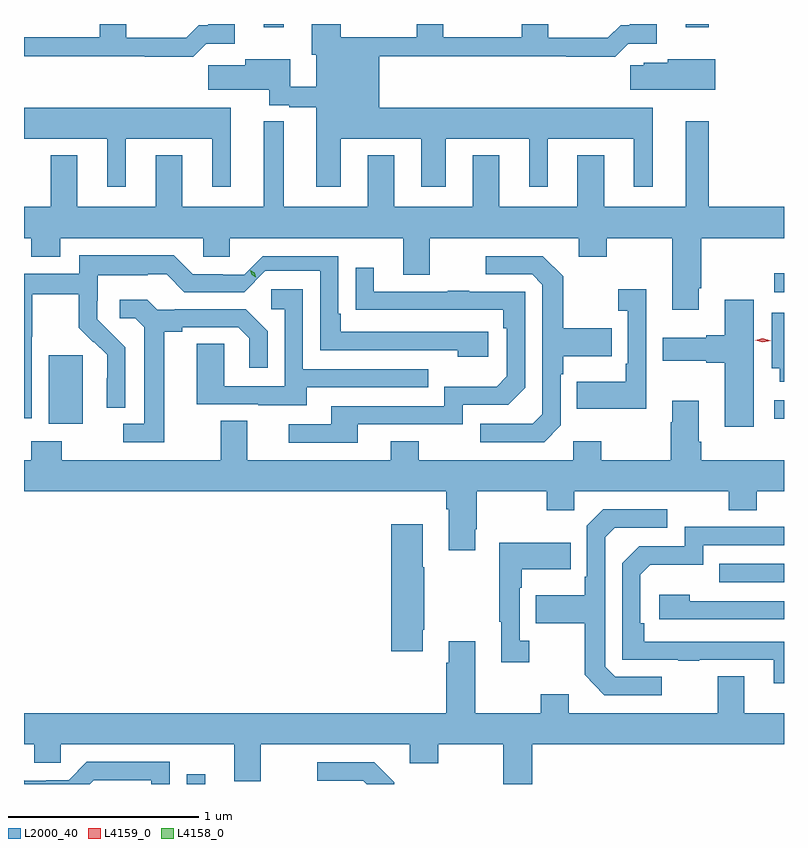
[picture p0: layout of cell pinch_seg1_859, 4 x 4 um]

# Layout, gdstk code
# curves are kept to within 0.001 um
import gdstk
lib = gdstk.Library(unit=1e-6, precision=1e-09)
def R(c, l, rs):  # rectangles x0, y0, x1, y1
    for r in rs: c.add(gdstk.rectangle(r[:2], r[2:], *l))
def P(c, l, *ps):  # polygons
    for p in ps: c.add(gdstk.Polygon(p, *l))
L2000_40 = (2000, 40)
L4158_0 = (4158, 0)
L4159_0 = (4159, 0)

pinch_seg1_859 = lib.new_cell('pinch_seg1_859')
R(pinch_seg1_859, L2000_40, [(614.047,524.883,614.143,524.935), (616.849,525.945,617.19,526.041), (613.319,526.778,613.498,527.139), (617.139,526.806,617.19,526.902), (617.139,527.472,617.19,527.57), (614.453,528.867,614.557,528.883), (616.673,528.867,616.795,528.883)])
P(pinch_seg1_859, L2000_40, [(614.15,528.779),(614.299,528.779),(614.299,528.883),(614.159,528.883),(614.159,528.877),(614.11,528.877),(614.043,528.81),(613.729,528.81),(613.729,528.883),(613.589,528.883),(613.589,528.813),(613.19,528.813),(613.19,528.712),(613.825,528.712),(613.825,528.71),(614.081,528.71)],
  [(614.857,528.278),(615.281,528.278),(615.281,528.027),(615.409,528.027),(615.409,528.278),(615.848,528.278),(615.848,528.027),(615.946,528.027),(615.946,528.278),(616.4,528.278),(616.4,528.027),(616.498,528.027),(616.498,528.442),(615.061,528.442),(615.061,528.712),(616.045,528.712),(616.045,528.71),(616.301,528.71),(616.371,528.78),(616.519,528.78),(616.519,528.883),(616.379,528.883),(616.379,528.877),(616.33,528.877),(616.263,528.81),(615.949,528.81),(615.949,528.883),(615.809,528.883),(615.809,528.813),(615.397,528.813),(615.397,528.883),(615.257,528.883),(615.257,528.813),(614.857,528.813),(614.857,528.883),(614.705,528.883),(614.705,528.72),(614.729,528.72),(614.729,528.553),(614.59,528.553),(614.59,528.697),(614.354,528.697),(614.354,528.665),(614.16,528.665),(614.16,528.536),(614.48,528.536),(614.48,528.456),(614.586,528.456),(614.586,528.445),(614.729,528.445),(614.729,528.027),(614.857,528.027)],
  [(616.828,528.697),(616.578,528.697),(616.578,528.679),(616.452,528.679),(616.452,528.665),(616.38,528.665),(616.38,528.536),(616.828,528.536)],
  [(613.726,528.278),(614.18,528.278),(614.18,528.027),(614.278,528.027),(614.278,528.442),(613.19,528.442),(613.19,528.278),(613.628,528.278),(613.628,528.027),(613.726,528.027)],
  [(616.741,527.491),(616.754,527.491),(616.754,527.756),(617.19,527.756),(617.19,527.92),(616.795,527.92),(616.795,528.37),(616.673,528.37),(616.673,527.92),(616.243,527.92),(616.243,528.193),(616.103,528.193),(616.103,527.92),(615.691,527.92),(615.691,528.193),(615.551,528.193),(615.551,527.92),(615.139,527.92),(615.139,528.193),(614.999,528.193),(614.999,527.92),(614.557,527.92),(614.557,528.257),(614.556,528.257),(614.556,528.37),(614.453,528.37),(614.453,527.92),(614.023,527.92),(614.023,528.193),(613.883,528.193),(613.883,527.92),(613.471,527.92),(613.471,528.193),(613.331,528.193),(613.331,527.92),(613.19,527.92),(613.19,527.756),(613.229,527.756),(613.229,527.657),(613.381,527.657),(613.381,527.756),(614.133,527.756),(614.133,527.658),(614.272,527.658),(614.272,527.756),(615.185,527.756),(615.185,527.562),(615.325,527.562),(615.325,527.756),(616.109,527.756),(616.109,527.657),(616.257,527.657),(616.257,527.756),(616.601,527.756),(616.601,527.379),(616.741,527.379)],
  [(613.23,527.236),(613.233,527.236),(613.233,527.46),(613.477,527.46),(613.477,527.285),(613.554,527.208),(613.557,527.211),(613.628,527.141),(613.628,527.018),(613.626,527.018),(613.626,526.864),(613.722,526.864),(613.722,527.182),(613.576,527.33),(613.576,527.427),(613.578,527.427),(613.578,527.561),(613.841,527.561),(613.841,527.565),(613.941,527.565),(614.034,527.472),(614.349,527.472),(614.461,527.584),(614.748,527.584),(614.748,527.166),(615.473,527.166),(615.473,527.132),(615.634,527.132),(615.634,527.262),(614.857,527.262),(614.857,527.359),(614.844,527.359),(614.844,527.661),(614.447,527.661),(614.348,527.562),(614.236,527.562),(614.236,527.565),(614.079,527.565),(613.979,527.665),(613.482,527.665),(613.482,527.568),(613.19,527.568),(613.19,526.807),(613.23,526.807)],
  [(616.014,526.77),(616.014,527.039),(616.027,527.039),(616.027,527.135),(616.283,527.135),(616.283,527.283),(616.027,527.283),(616.027,527.555),(615.921,527.661),(615.621,527.661),(615.621,527.565),(615.864,527.565),(615.918,527.511),(615.918,526.83),(615.867,526.779),(615.591,526.779),(615.591,526.683),(615.927,526.683)],
  [(614.947,526.776),(615.498,526.776),(615.498,526.878),(615.738,526.878),(615.828,526.968),(615.828,527.475),(615.533,527.475),(615.533,527.48),(615.421,527.48),(615.421,527.475),(615.031,527.475),(615.031,527.599),(614.935,527.599),(614.935,527.38),(615.712,527.379),(615.712,527.282),(615.732,527.282),(615.732,527.028),(615.679,526.975),(615.402,526.975),(615.402,526.872),(614.807,526.872),(614.807,526.776),(614.583,526.776),(614.583,526.68),(614.947,526.68)],
  [(616.464,527.488),(616.317,527.488),(616.317,527.375),(616.368,527.375),(616.368,527.095),(616.356,527.095),(616.356,526.999),(616.099,526.999),(616.099,526.859),(616.464,526.859)],
  [(614.677,526.971),(615.317,526.971),(615.317,527.067),(614.658,527.067),(614.658,527.488),(614.49,527.488),(614.49,527.382),(614.562,527.382),(614.562,526.977),(614.244,526.977),(614.244,527.201),(614.099,527.201),(614.099,526.881),(614.423,526.881),(614.423,526.877),(614.677,526.877)],
  [(613.927,527.264),(614.023,527.264),(614.023,527.286),(614.318,527.286),(614.375,527.229),(614.375,527.073),(614.472,527.073),(614.472,527.266),(614.356,527.382),(613.984,527.382),(613.984,527.379),(613.89,527.379),(613.838,527.431),(613.695,527.431),(613.695,527.334),(613.776,527.334),(613.823,527.287),(613.823,526.779),(613.713,526.779),(613.713,526.683),(613.927,526.683)],
  [(617.032,527.431),(616.877,527.431),(616.877,527.246),(616.781,527.246),(616.781,527.233),(616.551,527.233),(616.551,527.111),(616.781,527.111),(616.781,527.099),(616.877,527.099),(616.877,526.764),(617.032,526.764)],
  [(617.19,527.362),(617.126,527.362),(617.126,527.072),(617.168,527.072),(617.168,527),(617.19,527)],
  [(615.565,526.225),(615.573,526.225),(615.573,526.424),(615.94,526.424),(615.94,526.325),(616.086,526.325),(616.086,526.424),(616.9,526.424),(616.9,526.325),(617.047,526.325),(617.047,526.424),(617.19,526.424),(617.19,526.588),(616.754,526.588),(616.754,526.684),(616.741,526.684),(616.741,526.9),(616.601,526.9),(616.601,526.787),(616.594,526.787),(616.594,526.588),(616.227,526.588),(616.227,526.687),(616.08,526.687),(616.08,526.588),(615.267,526.588),(615.267,526.687),(615.119,526.687),(615.119,526.588),(614.365,526.588),(614.365,526.796),(614.225,526.796),(614.225,526.588),(613.389,526.588),(613.389,526.687),(613.229,526.687),(613.229,526.588),(613.19,526.588),(613.19,526.424),(615.413,526.424),(615.413,526.328),(615.425,526.328),(615.425,526.113),(615.565,526.113)],
  [(616.546,525.447),(616.302,525.447),(616.248,525.501),(616.248,526.182),(616.299,526.233),(616.576,526.233),(616.576,526.329),(616.239,526.329),(616.152,526.242),(616.152,525.973),(616.14,525.973),(616.14,525.877),(615.883,525.877),(615.883,525.73),(616.14,525.73),(616.14,525.457),(616.245,525.351),(616.546,525.351)],
  [(615.289,525.694),(615.297,525.694),(615.297,526.025),(615.289,526.025),(615.289,526.249),(615.122,526.249),(615.122,525.582),(615.289,525.582)],
  [(617.19,525.632),(616.454,525.633),(616.454,525.73),(616.434,525.73),(616.434,525.984),(616.487,526.037),(616.764,526.037),(616.764,526.14),(617.19,526.14),(617.19,526.236),(616.668,526.236),(616.668,526.134),(616.428,526.134),(616.338,526.044),(616.338,525.537),(616.633,525.537),(616.633,525.532),(616.745,525.532),(616.745,525.537),(617.135,525.537),(617.135,525.414),(617.19,525.414)],
  [(615.85,525.638),(615.798,525.638),(615.798,525.917),(615.811,525.917),(615.811,526.013),(616.067,526.013),(616.067,526.153),(615.69,526.153),(615.69,525.737),(615.701,525.737),(615.701,525.525),(615.85,525.525)],
  [(617.19,525.846),(616.694,525.846),(616.694,525.88),(616.533,525.88),(616.533,525.75),(617.19,525.75)],
  [(615.866,525.092),(617.19,525.092),(617.19,525.256),(616.981,525.256),(616.981,525.451),(616.841,525.451),(616.841,525.256),(616.057,525.256),(616.057,525.355),(615.91,525.355),(615.91,525.256),(615.565,525.256),(615.565,525.634),(615.425,525.634),(615.425,525.521),(615.413,525.521),(615.413,525.256),(613.19,525.256),(613.19,525.092),(613.245,525.092),(613.245,524.994),(613.383,524.994),(613.383,525.092),(614.297,525.092),(614.297,524.898),(614.437,524.898),(614.437,525.092),(615.221,525.092),(615.221,524.993),(615.369,524.993),(615.369,525.092),(615.713,525.092),(615.713,524.883),(615.866,524.883)],
  [(613.557,524.904),(613.86,524.904),(613.86,524.883),(613.956,524.883),(613.956,525),(613.521,525),(613.425,524.904),(613.307,524.904),(613.307,524.901),(613.19,524.902),(613.19,524.883),(613.536,524.883)],
  [(615.139,524.891),(615.033,524.997),(614.733,524.997),(614.733,524.901),(614.976,524.901),(614.994,524.883),(615.139,524.883)])
P(pinch_seg1_859, L4158_0, [(614.41,527.549),(614.388,527.562),(614.382,527.586),(614.382,527.586),(614.382,527.586),(614.404,527.574),(614.41,527.55),(614.41,527.549)])
P(pinch_seg1_859, L4159_0, [(617.078,527.208),(617.038,527.218),(617.038,527.218),(617.038,527.218),(617.079,527.228),(617.119,527.217),(617.119,527.217),(617.119,527.217)])

lib.write_gds('pinch_seg1_859.gds')
